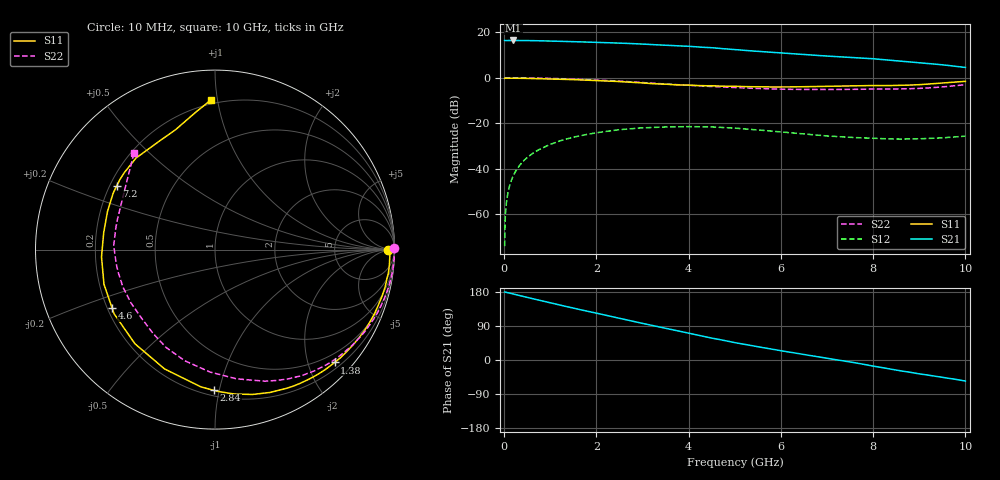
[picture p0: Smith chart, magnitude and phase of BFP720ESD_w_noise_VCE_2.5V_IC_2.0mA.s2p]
! Infineon Technologies  Discrete & RF Semiconductors
! BFP720ESD
! VCE =  2.5 V,  IC =  2.0 mA
! Common Emitter S-Parameters:  Jan 2016
# GHz  S  MA  R  50
!  f  S11  S21  S12  S22
! GHz  MAG  ANG  MAG  ANG  MAG  ANG  MAG  ANG
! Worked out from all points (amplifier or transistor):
!   233 points, 10 MHz to 10 GHz, reference 50 ohm
!   highest |S21| = 16.4 dB at 200 MHz (marker M1)
!   |S21| within 3 dB of that: start of sweep to 4.315 GHz
!   unconditionally stable (mu >= 1): 6.932 GHz to 9.713 GHz
!   at 200 MHz: K = 0.03, MSG = 29.7 dB, |S12| = -43.0 dB
!   at 1.74 GHz: K = 0.18, MSG = 20.4 dB, |S12| = -25.1 dB
!   at 10 GHz: K = 0.73, MSG = 15.1 dB, |S12| = -25.7 dB
!   lowest NFmin = 0.53 dB at 450 MHz
!   S11 on the Smith chart (normalised r, x): 10 MHz: 57, +0; 1.38 GHz: 0.32, -2.48; 2.84 GHz: 0.24, -0.96; 4.6 GHz: 0.22, -0.25; 7.2 GHz: 0.23, +0.28; 10 GHz: 0.18, +0.96
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0.01  0.9653 0.0  6.575 179.4  0.0002 -31.7  0.9976 0.5
0.015  0.9717 -0.2  6.55 179.4  0.0003 70.6  0.9978 0.1
0.02  0.9781 -0.4  6.524 179.4  0.0007 86.8  0.998 -0.2
0.025  0.9776 -0.6  6.524 179.2  0.0009 88.8  0.9982 -0.3
0.06  0.9748 -1.8  6.533 178.0  0.0022 91.3  0.9993 -1.3
0.2  0.9745 -6.1  6.577 174.2  0.0071 84.9  0.9983 -4.6
0.4  0.9707 -12.4  6.552 168.2  0.0142 80.2  0.9933 -9.3
0.7  0.9579 -21.8  6.496 159.5  0.0245 72.8  0.9821 -16.3
1.38  0.9165 -43.3  6.234 140.2  0.0459 56.4  0.9406 -32.0
1.68  0.8953 -52.7  6.112 132.0  0.0541 49.3  0.9182 -38.9
2.38  0.835 -74.8  5.814 113.3  0.0701 33.8  0.8553 -54.7
2.84  0.7844 -90.4  5.579 100.9  0.0775 23.6  0.8019 -65.5
3.4  0.7258 -109.4  5.229 86.2  0.0821 11.7  0.7377 -78.3
4  0.6886 -130.4  4.9 70.8  0.0844 0.3  0.6825 -92.4
4.6  0.659 -150.5  4.464 55.6  0.082 -10.8  0.6335 -107.4
5.1  0.6423 -165.4  4.077 43.8  0.0768 -18.6  0.6022 -118.5
6  0.6273 171.3  3.491 24.5  0.0644 -28.2  0.5598 -137.0
6.8  0.6415 154.7  3.073 8.6  0.0548 -30.1  0.5519 -153.9
7.2  0.6523 147.2  2.906 0.8  0.0512 -29.3  0.5521 -162.5
8.4  0.6737 121.3  2.404 -24.5  0.0452 -22.7  0.5653 168.0
9  0.7032 108.2  2.134 -36.6  0.0456 -17.3  0.583 153.3
10  0.8327 91.7  1.679 -55.6  0.0521 -12.6  0.7022 130.0
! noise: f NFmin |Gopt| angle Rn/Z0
0.45  0.53  0.7  6  0.25
0.9  0.56  0.68  14  0.24
1.9  0.65  0.62  37  0.22
2.4  0.73  0.59  45  0.21
5.5  1.15  0.34  129  0.11
10  2.25  0.63  -104  0.6
